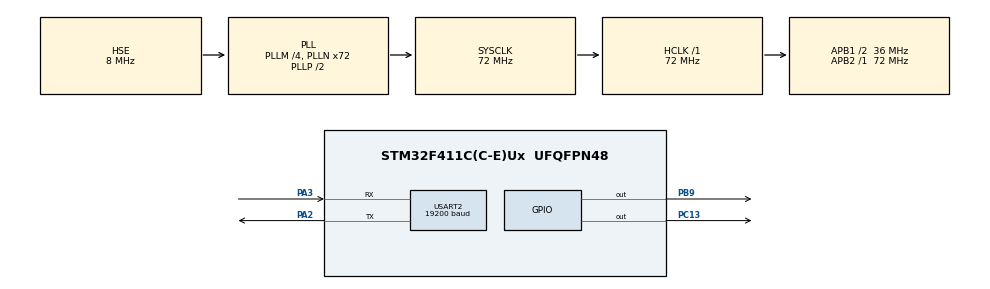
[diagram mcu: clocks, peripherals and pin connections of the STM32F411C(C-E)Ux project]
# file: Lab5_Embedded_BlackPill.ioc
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Mcu.Family=STM32F4
Mcu.Name=STM32F411C(C-E)Ux
Mcu.Package=UFQFPN48
NVIC.PriorityGroup=NVIC_PRIORITYGROUP_4
PA2.Mode=Asynchronous
PA2.Signal=USART2_TX
PA3.Mode=Asynchronous
PA3.Signal=USART2_RX
PB9.Signal=GPIO_Output
PC13-ANTI_TAMP.Signal=GPIO_Output
PH0\ -\ OSC_IN.Mode=HSE-External-Oscillator
PH0\ -\ OSC_IN.Signal=RCC_OSC_IN
PH1\ -\ OSC_OUT.Mode=HSE-External-Oscillator
PH1\ -\ OSC_OUT.Signal=RCC_OSC_OUT
ProjectManager.HeapSize=0x200
ProjectManager.StackSize=0x400
ProjectManager.TargetToolchain=STM32CubeIDE
RCC.48MHZClocksFreq_Value=36000000
RCC.AHBFreq_Value=72000000
RCC.APB1CLKDivider=RCC_HCLK_DIV2
RCC.APB1Freq_Value=36000000
RCC.APB1TimFreq_Value=72000000
RCC.APB2Freq_Value=72000000
RCC.APB2TimFreq_Value=72000000
RCC.CortexFreq_Value=72000000
RCC.HCLKFreq_Value=72000000
RCC.HSE_VALUE=8000000
RCC.HSI_VALUE=16000000
RCC.LSE_VALUE=32768
RCC.PLLM=4
RCC.PLLN=72
RCC.PLLSourceVirtual=RCC_PLLSOURCE_HSE
RCC.SYSCLKFreq_VALUE=72000000
RCC.SYSCLKSource=RCC_SYSCLKSOURCE_PLLCLK
RCC.VCOOutputFreq_Value=144000000
TIM1.Period=0xffff-1
TIM1.Prescaler=72-1
USART2.BaudRate=19200
USART2.VirtualMode=VM_ASYNC
VP_TIM1_VS_ClockSourceINT.Mode=Internal
board=custom

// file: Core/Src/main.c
/* USER CODE BEGIN Header */
/**
  ******************************************************************************
  * @file           : main.c
  * @brief          : Main program body
  ******************************************************************************
  * @attention
  *
  * Copyright (c) 2023 STMicroelectronics.
  * All rights reserved.
  *
  * This software is licensed under terms that can be found in the LICENSE file
  * in the root directory of this software component.
  * If no LICENSE file comes with this software, it is provided AS-IS.
  *
  ******************************************************************************
  */
/* USER CODE END Header */
#include "main.h"

TIM_HandleTypeDef htim1;

UART_HandleTypeDef huart2;

void SystemClock_Config(void);
static void MX_GPIO_Init(void);
static void MX_TIM1_Init(void);
static void MX_USART2_UART_Init(void);

/* USER CODE BEGIN 0 */
#define DHT11_PORT GPIOB
#define DHT11_PIN GPIO_PIN_9

uint8_t Rh_byte1, Rh_byte2, Temp_byte1, Temp_byte2;
uint16_t SUM;
uint8_t Presence;
uint8_t Temperature[1];

void delay(uint16_t us){
	__HAL_TIM_SET_COUNTER(&htim1,0);  // set the counter value a 0
	while (__HAL_TIM_GET_COUNTER(&htim1) < us);  // wait for the counter to reach the us input in the parameter
}

void Set_Pin_Output (GPIO_TypeDef *GPIOx, uint16_t GPIO_Pin)
{
	GPIO_InitTypeDef GPIO_InitStruct = {0};
	GPIO_InitStruct.Pin = GPIO_Pin;
	GPIO_InitStruct.Mode = GPIO_MODE_OUTPUT_PP;
	GPIO_InitStruct.Speed = GPIO_SPEED_FREQ_LOW;
	HAL_GPIO_Init(GPIOx, &GPIO_InitStruct);
}

void Set_Pin_Input (GPIO_TypeDef *GPIOx, uint16_t GPIO_Pin)
{
	GPIO_InitTypeDef GPIO_InitStruct = {0};
	GPIO_InitStruct.Pin = GPIO_Pin;
	GPIO_InitStruct.Mode = GPIO_MODE_INPUT;
	GPIO_InitStruct.Pull = GPIO_PULLUP;
	HAL_GPIO_Init(GPIOx, &GPIO_InitStruct);
}

void DHT11_Start (void)
{
	Set_Pin_Output(DHT11_PORT, DHT11_PIN);  // set the pin as output
	HAL_GPIO_WritePin (DHT11_PORT, DHT11_PIN, 0);   // pull the pin low
	delay (18000);   // wait for 18ms
	Set_Pin_Input(DHT11_PORT, DHT11_PIN);    // set as input
}

uint8_t Check_Response (void)
{
	uint8_t Response = 0;
	delay (40);
	if (!(HAL_GPIO_ReadPin (DHT11_PORT, DHT11_PIN)))
	{
		delay (80);
		if ((HAL_GPIO_ReadPin (DHT11_PORT, DHT11_PIN))) Response = 1;
		else Response = -1;
	}
	while ((HAL_GPIO_ReadPin (DHT11_PORT, DHT11_PIN)));   // wait for the pin to go low

	return Response;
}

uint8_t DHT11_Read (void)
{
	uint8_t i,j;
	for (j=0;j<8;j++)
	{
		while (!(HAL_GPIO_ReadPin (DHT11_PORT, DHT11_PIN)));   // wait for the pin to go high
		delay (40);   // wait for 40 us
		if (!(HAL_GPIO_ReadPin (DHT11_PORT, DHT11_PIN)))   // if the pin is low
		{
			i&= ~(1<<(7-j));   // write 0
		}
		else i|= (1<<(7-j));  // if the pin is high, write 1
		while ((HAL_GPIO_ReadPin (DHT11_PORT, DHT11_PIN)));  // wait for the pin to go low
	}
	return i;
}
/* USER CODE END 0 */

int main(void)
{

  /* MCU Configuration--------------------------------------------------------*/

  /* Reset of all peripherals, Initializes the Flash interface and the Systick. */
  HAL_Init();

  /* Configure the system clock */
  SystemClock_Config();

  /* Initialize all configured peripherals */
  MX_GPIO_Init();
  MX_TIM1_Init();
  MX_USART2_UART_Init();
  /* USER CODE BEGIN 2 */
  HAL_TIM_Base_Start(&htim1);
  /* USER CODE END 2 */

  /* Infinite loop */
  /* USER CODE BEGIN WHILE */
  while (1)
  {
	  HAL_GPIO_WritePin(GPIOC, GPIO_PIN_13, GPIO_PIN_SET);
	  HAL_Delay(200);
	  HAL_GPIO_WritePin(GPIOC, GPIO_PIN_13, GPIO_PIN_RESET);
	  HAL_Delay(200);

	  DHT11_Start();
	  Presence = Check_Response();
	  Rh_byte1 = DHT11_Read();
	  Rh_byte2 = DHT11_Read();
	  Temp_byte1 = DHT11_Read();
	  Temp_byte2 = DHT11_Read();
	  SUM = DHT11_Read();

	  if(Presence == 1 && SUM == Rh_byte1+Rh_byte2+Temp_byte1+Temp_byte2){
		  Temperature[0] = Temp_byte1;
		  HAL_UART_Transmit(&huart2, Temperature, 1, 100);
	  }
	  HAL_Delay(500);
    /* USER CODE END WHILE */

  }
}

void SystemClock_Config(void)
{
  RCC_OscInitTypeDef RCC_OscInitStruct = {0};
  RCC_ClkInitTypeDef RCC_ClkInitStruct = {0};

  /** Configure the main internal regulator output voltage
  */
  __HAL_RCC_PWR_CLK_ENABLE();
  __HAL_PWR_VOLTAGESCALING_CONFIG(PWR_REGULATOR_VOLTAGE_SCALE1);

  /** Initializes the RCC Oscillators according to the specified parameters
  * in the RCC_OscInitTypeDef structure.
  */
  RCC_OscInitStruct.OscillatorType = RCC_OSCILLATORTYPE_HSE;
  RCC_OscInitStruct.HSEState = RCC_HSE_ON;
  RCC_OscInitStruct.PLL.PLLState = RCC_PLL_ON;
  RCC_OscInitStruct.PLL.PLLSource = RCC_PLLSOURCE_HSE;
  RCC_OscInitStruct.PLL.PLLM = 4;
  RCC_OscInitStruct.PLL.PLLN = 72;
  RCC_OscInitStruct.PLL.PLLP = RCC_PLLP_DIV2;
  RCC_OscInitStruct.PLL.PLLQ = 4;
  if (HAL_RCC_OscConfig(&RCC_OscInitStruct) != HAL_OK)
  {
    Error_Handler();
  }

  /** Initializes the CPU, AHB and APB buses clocks
  */
  RCC_ClkInitStruct.ClockType = RCC_CLOCKTYPE_HCLK|RCC_CLOCKTYPE_SYSCLK
                              |RCC_CLOCKTYPE_PCLK1|RCC_CLOCKTYPE_PCLK2;
  RCC_ClkInitStruct.SYSCLKSource = RCC_SYSCLKSOURCE_PLLCLK;
  RCC_ClkInitStruct.AHBCLKDivider = RCC_SYSCLK_DIV1;
  RCC_ClkInitStruct.APB1CLKDivider = RCC_HCLK_DIV2;
  RCC_ClkInitStruct.APB2CLKDivider = RCC_HCLK_DIV1;

  if (HAL_RCC_ClockConfig(&RCC_ClkInitStruct, FLASH_LATENCY_2) != HAL_OK)
  {
    Error_Handler();
  }
}

static void MX_TIM1_Init(void)
{

  TIM_ClockConfigTypeDef sClockSourceConfig = {0};
  TIM_MasterConfigTypeDef sMasterConfig = {0};

  htim1.Instance = TIM1;
  htim1.Init.Prescaler = 72-1;
  htim1.Init.CounterMode = TIM_COUNTERMODE_UP;
  htim1.Init.Period = 0xffff-1;
  htim1.Init.ClockDivision = TIM_CLOCKDIVISION_DIV1;
  htim1.Init.RepetitionCounter = 0;
  htim1.Init.AutoReloadPreload = TIM_AUTORELOAD_PRELOAD_DISABLE;
  if (HAL_TIM_Base_Init(&htim1) != HAL_OK)
  {
    Error_Handler();
  }
  sClockSourceConfig.ClockSource = TIM_CLOCKSOURCE_INTERNAL;
  if (HAL_TIM_ConfigClockSource(&htim1, &sClockSourceConfig) != HAL_OK)
  {
    Error_Handler();
  }
  sMasterConfig.MasterOutputTrigger = TIM_TRGO_RESET;
  sMasterConfig.MasterSlaveMode = TIM_MASTERSLAVEMODE_DISABLE;
  if (HAL_TIMEx_MasterConfigSynchronization(&htim1, &sMasterConfig) != HAL_OK)
  {
    Error_Handler();
  }

}

static void MX_USART2_UART_Init(void)
{

  huart2.Instance = USART2;
  huart2.Init.BaudRate = 19200;
  huart2.Init.WordLength = UART_WORDLENGTH_8B;
  huart2.Init.StopBits = UART_STOPBITS_1;
  huart2.Init.Parity = UART_PARITY_NONE;
  huart2.Init.Mode = UART_MODE_TX_RX;
  huart2.Init.HwFlowCtl = UART_HWCONTROL_NONE;
  huart2.Init.OverSampling = UART_OVERSAMPLING_16;
  if (HAL_UART_Init(&huart2) != HAL_OK)
  {
    Error_Handler();
  }

}

static void MX_GPIO_Init(void)
{
  GPIO_InitTypeDef GPIO_InitStruct = {0};

  /* GPIO Ports Clock Enable */
  __HAL_RCC_GPIOC_CLK_ENABLE();
  __HAL_RCC_GPIOH_CLK_ENABLE();
  __HAL_RCC_GPIOA_CLK_ENABLE();
  __HAL_RCC_GPIOB_CLK_ENABLE();

  /*Configure GPIO pin Output Level */
  HAL_GPIO_WritePin(GPIOC, GPIO_PIN_13, GPIO_PIN_RESET);

  /*Configure GPIO pin Output Level */
  HAL_GPIO_WritePin(GPIOB, GPIO_PIN_9, GPIO_PIN_RESET);

  /*Configure GPIO pin : PC13 */
  GPIO_InitStruct.Pin = GPIO_PIN_13;
  GPIO_InitStruct.Mode = GPIO_MODE_OUTPUT_PP;
  GPIO_InitStruct.Pull = GPIO_NOPULL;
  GPIO_InitStruct.Speed = GPIO_SPEED_FREQ_LOW;
  HAL_GPIO_Init(GPIOC, &GPIO_InitStruct);

  /*Configure GPIO pin : PB9 */
  GPIO_InitStruct.Pin = GPIO_PIN_9;
  GPIO_InitStruct.Mode = GPIO_MODE_OUTPUT_PP;
  GPIO_InitStruct.Pull = GPIO_NOPULL;
  GPIO_InitStruct.Speed = GPIO_SPEED_FREQ_LOW;
  HAL_GPIO_Init(GPIOB, &GPIO_InitStruct);

}

void Error_Handler(void)
{
  __disable_irq();
  while (1)
  {
  }
}
